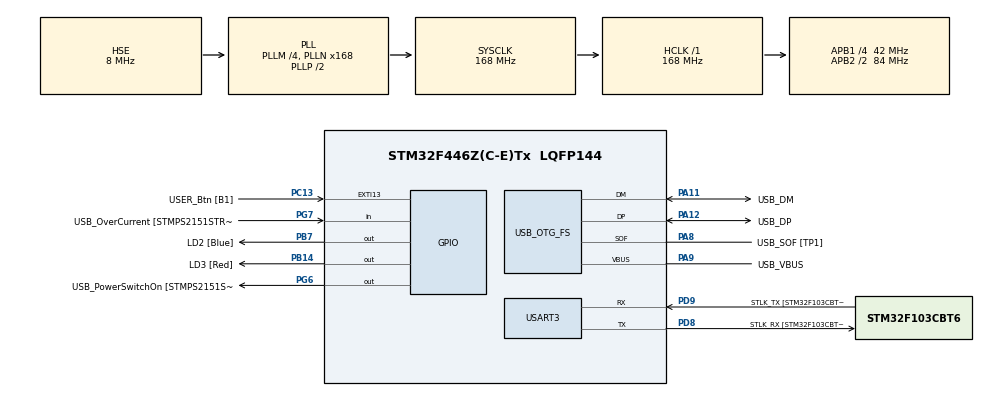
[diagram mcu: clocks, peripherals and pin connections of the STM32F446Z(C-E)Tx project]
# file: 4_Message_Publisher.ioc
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FREERTOS.Tasks01=defaultTask,0,128,StartDefaultTask,Default,NULL
Mcu.Family=STM32F4
Mcu.Name=STM32F446Z(C-E)Tx
Mcu.Package=LQFP144
NVIC.PriorityGroup=NVIC_PRIORITYGROUP_4
NVIC.TIM1_UP_TIM10_IRQn=true\:0\:0\:false\:false\:true\:false\:false\:true
NVIC.TimeBase=TIM1_UP_TIM10_IRQn
NVIC.TimeBaseIP=TIM1
PA10.GPIO_Label=USB_ID
PA10.Signal=USB_OTG_FS_ID
PA11.GPIO_Label=USB_DM
PA11.Mode=Device_Only
PA11.Signal=USB_OTG_FS_DM
PA12.GPIO_Label=USB_DP
PA12.Mode=Device_Only
PA12.Signal=USB_OTG_FS_DP
PA13.GPIO_Label=TMS
PA13.Mode=Serial_Wire
PA13.Signal=SYS_JTMS-SWDIO
PA14.GPIO_Label=TCK
PA14.Mode=Serial_Wire
PA14.Signal=SYS_JTCK-SWCLK
PA8.GPIO_Label=USB_SOF [TP1]
PA8.Mode=Activate_SOF_FS
PA8.Signal=USB_OTG_FS_SOF
PA9.GPIO_Label=USB_VBUS
PA9.Mode=Activate_VBUS
PA9.Signal=USB_OTG_FS_VBUS
PB14.GPIO_Label=LD3 [Red]
PB14.Signal=GPIO_Output
PB7.GPIO_Label=LD2 [Blue]
PB7.Signal=GPIO_Output
PC13.GPIO_Label=USER_Btn [B1]
PC13.Signal=GPXTI13
PC14-OSC32_IN.Mode=LSE-External-Oscillator
PC14-OSC32_IN.Signal=RCC_OSC32_IN
PC15-OSC32_OUT.Mode=LSE-External-Oscillator
PC15-OSC32_OUT.Signal=RCC_OSC32_OUT
PD8.GPIO_Label=STLK_RX [STM32F103CBT6_PA3]
PD8.Mode=Asynchronous
PD8.Signal=USART3_TX
PD9.GPIO_Label=STLK_TX [STM32F103CBT6_PA2]
PD9.Mode=Asynchronous
PD9.Signal=USART3_RX
PG6.GPIO_Label=USB_PowerSwitchOn [STMPS2151STR_EN]
PG6.Signal=GPIO_Output
PG7.GPIO_Label=USB_OverCurrent [STMPS2151STR_FAULT]
PG7.Signal=GPIO_Input
PH0-OSC_IN.GPIO_Label=MCO [STM32F103CBT6_PA8]
PH0-OSC_IN.Mode=HSE-External-Clock-Source
PH0-OSC_IN.Signal=RCC_OSC_IN
PH1-OSC_OUT.Mode=HSE-External-Clock-Source
PH1-OSC_OUT.Signal=RCC_OSC_OUT
ProjectManager.HeapSize=0x200
ProjectManager.StackSize=0x400
ProjectManager.TargetToolchain=STM32CubeIDE
RCC.48MHZClocksFreq_Value=24000000
RCC.AHBFreq_Value=168000000
RCC.APB1CLKDivider=RCC_HCLK_DIV4
RCC.APB1Freq_Value=42000000
RCC.APB1TimFreq_Value=84000000
RCC.APB2CLKDivider=RCC_HCLK_DIV2
RCC.APB2Freq_Value=84000000
RCC.APB2TimFreq_Value=168000000
RCC.CortexFreq_Value=168000000
RCC.HCLKFreq_Value=168000000
RCC.HSE_VALUE=8000000
RCC.HSI_VALUE=16000000
RCC.PLLM=4
RCC.PLLMUL=RCC_PLL_MUL9
RCC.PLLN=168
RCC.PLLQ=7
RCC.PRESCALERUSB=RCC_USBCLKSOURCE_PLL_DIV1_5
RCC.SYSCLKFreq_VALUE=168000000
RCC.SYSCLKSource=RCC_SYSCLKSOURCE_PLLCLK
RCC.SYSCLKSourceVirtual=RCC_SYSCLKSOURCE_PLLCLK
RCC.USBFreq_Value=48000000
RCC.VCOOutputFreq_Value=336000000
USART3.VirtualMode=VM_ASYNC
USB_OTG_FS.VirtualMode=Device_Only
VP_FREERTOS_VS_CMSIS_V1.Mode=CMSIS_V1
VP_SYS_VS_tim1.Mode=TIM1
board=NUCLEO-F446ZE

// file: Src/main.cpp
/* USER CODE BEGIN Header */
/**
  ******************************************************************************
  * @file           : main.c
  * @brief          : Main program body
  ******************************************************************************
  * @attention
  *
  * <h2><center>&copy; Copyright (c) 2019 STMicroelectronics.
  * All rights reserved.</center></h2>
  *
  * This software component is licensed by ST under BSD 3-Clause license,
  * the "License"; You may not use this file except in compliance with the
  * License. You may obtain a copy of the License at:
  *                        opensource.org/licenses/BSD-3-Clause
  *
  ******************************************************************************
  */
/* USER CODE END Header */

#include "main.h"
#include "cmsis_os.h"

/* USER CODE BEGIN Includes */
#include <uavcan_stm32/uavcan_stm32.hpp>
#include <uavcan/uavcan.hpp>

#include <uavcan/protocol/debug/KeyValue.hpp> // uavcan.protocol.debug.KeyValue
/* USER CODE END Includes */

/* USER CODE BEGIN PD */
#define CAN_THRAD_STACK_SIZE 512

#define DEBUG_BUFFER_SIZE    (256)
#define DEBUG_TIMEOUT        (1000)

/* USER CODE END PD */

UART_HandleTypeDef huart3;

PCD_HandleTypeDef hpcd_USB_OTG_FS;

osThreadId defaultTaskHandle;
/* USER CODE BEGIN PV */
uint32_t defaultTaskBuffer[ CAN_THRAD_STACK_SIZE ];
osStaticThreadDef_t defaultTaskControlBlock;

osSemaphoreId DEBUG_TX_completeID;
osSemaphoreDef(DEBUG_TX_complete);
uint8_t DEBUG_TX_Buffer[DEBUG_BUFFER_SIZE] = {0};  //!< Debug buffer.
/* USER CODE END PV */

void SystemClock_Config(void);
static void MX_GPIO_Init(void);
static void MX_USART3_UART_Init(void);
static void MX_USB_OTG_FS_PCD_Init(void);

/* USER CODE BEGIN PFP */
extern "C" {
	void StartDefaultTask(void const * argument);
}

bool DEBUG_Init(void);
void DEBUG_Printf(const char *fmt, ...);

/* USER CODE END PFP */

/* USER CODE BEGIN 0 */
constexpr unsigned NodePoolSize = 8192;
uavcan_stm32::CanInitHelper<> can;

uavcan::Node<NodePoolSize>& getNode() {
    static uavcan::Node<NodePoolSize> node(can.driver, uavcan_stm32::SystemClock::instance());
    return node;
}
/* USER CODE END 0 */

int main(void)
{

  /* MCU Configuration--------------------------------------------------------*/

  /* Reset of all peripherals, Initializes the Flash interface and the Systick. */
  HAL_Init();

  /* Configure the system clock */
  SystemClock_Config();

  /* Initialize all configured peripherals */
  MX_GPIO_Init();
  MX_USART3_UART_Init();
  MX_USB_OTG_FS_PCD_Init();
  /* USER CODE BEGIN 2 */

  GPIO_InitTypeDef GPIO_InitStruct = {0};

  __HAL_RCC_CAN1_CLK_ENABLE();

  __HAL_RCC_GPIOD_CLK_ENABLE();
  /**CAN1 GPIO Configuration
  PD0     ------> CAN1_RX
  PD1     ------> CAN1_TX
  */
  GPIO_InitStruct.Pin = GPIO_PIN_0|GPIO_PIN_1;
  GPIO_InitStruct.Mode = GPIO_MODE_AF_PP;
  GPIO_InitStruct.Pull = GPIO_NOPULL;
  GPIO_InitStruct.Speed = GPIO_SPEED_FREQ_VERY_HIGH;
  GPIO_InitStruct.Alternate = GPIO_AF9_CAN1;
  HAL_GPIO_Init(GPIOD, &GPIO_InitStruct);

  DEBUG_Init();

  /* USER CODE END 2 */

  /* Create the thread(s) */
  /* definition and creation of defaultTask */
  osThreadStaticDef(defaultTask, StartDefaultTask, osPriorityNormal, 0, CAN_THRAD_STACK_SIZE, defaultTaskBuffer, &defaultTaskControlBlock);
  defaultTaskHandle = osThreadCreate(osThread(defaultTask), NULL);

  /* Start scheduler */
  osKernelStart();

  /* We should never get here as control is now taken by the scheduler */

  /* Infinite loop */
  while (1)
  {

  }
}

void SystemClock_Config(void)
{
  RCC_OscInitTypeDef RCC_OscInitStruct = {0};
  RCC_ClkInitTypeDef RCC_ClkInitStruct = {0};
  RCC_PeriphCLKInitTypeDef PeriphClkInitStruct = {0};

  /** Configure the main internal regulator output voltage
  */
  __HAL_RCC_PWR_CLK_ENABLE();
  __HAL_PWR_VOLTAGESCALING_CONFIG(PWR_REGULATOR_VOLTAGE_SCALE1);
  /** Initializes the CPU, AHB and APB busses clocks
  */
  RCC_OscInitStruct.OscillatorType = RCC_OSCILLATORTYPE_HSE;
  RCC_OscInitStruct.HSEState = RCC_HSE_BYPASS;
  RCC_OscInitStruct.PLL.PLLState = RCC_PLL_ON;
  RCC_OscInitStruct.PLL.PLLSource = RCC_PLLSOURCE_HSE;
  RCC_OscInitStruct.PLL.PLLM = 4;
  RCC_OscInitStruct.PLL.PLLN = 168;
  RCC_OscInitStruct.PLL.PLLP = RCC_PLLP_DIV2;
  RCC_OscInitStruct.PLL.PLLQ = 7;
  RCC_OscInitStruct.PLL.PLLR = 2;
  if (HAL_RCC_OscConfig(&RCC_OscInitStruct) != HAL_OK)
  {
    Error_Handler();
  }
  /** Initializes the CPU, AHB and APB busses clocks
  */
  RCC_ClkInitStruct.ClockType = RCC_CLOCKTYPE_HCLK|RCC_CLOCKTYPE_SYSCLK
                              |RCC_CLOCKTYPE_PCLK1|RCC_CLOCKTYPE_PCLK2;
  RCC_ClkInitStruct.SYSCLKSource = RCC_SYSCLKSOURCE_PLLCLK;
  RCC_ClkInitStruct.AHBCLKDivider = RCC_SYSCLK_DIV1;
  RCC_ClkInitStruct.APB1CLKDivider = RCC_HCLK_DIV4;
  RCC_ClkInitStruct.APB2CLKDivider = RCC_HCLK_DIV2;

  if (HAL_RCC_ClockConfig(&RCC_ClkInitStruct, FLASH_LATENCY_5) != HAL_OK)
  {
    Error_Handler();
  }
  PeriphClkInitStruct.PeriphClockSelection = RCC_PERIPHCLK_CLK48;
  PeriphClkInitStruct.Clk48ClockSelection = RCC_CLK48CLKSOURCE_PLLQ;
  if (HAL_RCCEx_PeriphCLKConfig(&PeriphClkInitStruct) != HAL_OK)
  {
    Error_Handler();
  }
}

static void MX_USART3_UART_Init(void)
{

  huart3.Instance = USART3;
  huart3.Init.BaudRate = 115200;
  huart3.Init.WordLength = UART_WORDLENGTH_8B;
  huart3.Init.StopBits = UART_STOPBITS_1;
  huart3.Init.Parity = UART_PARITY_NONE;
  huart3.Init.Mode = UART_MODE_TX_RX;
  huart3.Init.HwFlowCtl = UART_HWCONTROL_NONE;
  huart3.Init.OverSampling = UART_OVERSAMPLING_16;
  if (HAL_UART_Init(&huart3) != HAL_OK)
  {
    Error_Handler();
  }

}

static void MX_USB_OTG_FS_PCD_Init(void)
{

  hpcd_USB_OTG_FS.Instance = USB_OTG_FS;
  hpcd_USB_OTG_FS.Init.dev_endpoints = 6;
  hpcd_USB_OTG_FS.Init.speed = PCD_SPEED_FULL;
  hpcd_USB_OTG_FS.Init.dma_enable = DISABLE;
  hpcd_USB_OTG_FS.Init.phy_itface = PCD_PHY_EMBEDDED;
  hpcd_USB_OTG_FS.Init.Sof_enable = ENABLE;
  hpcd_USB_OTG_FS.Init.low_power_enable = DISABLE;
  hpcd_USB_OTG_FS.Init.lpm_enable = DISABLE;
  hpcd_USB_OTG_FS.Init.vbus_sensing_enable = ENABLE;
  hpcd_USB_OTG_FS.Init.use_dedicated_ep1 = DISABLE;
  if (HAL_PCD_Init(&hpcd_USB_OTG_FS) != HAL_OK)
  {
    Error_Handler();
  }

}

static void MX_GPIO_Init(void)
{
  GPIO_InitTypeDef GPIO_InitStruct = {0};

  /* GPIO Ports Clock Enable */
  __HAL_RCC_GPIOC_CLK_ENABLE();
  __HAL_RCC_GPIOH_CLK_ENABLE();
  __HAL_RCC_GPIOB_CLK_ENABLE();
  __HAL_RCC_GPIOD_CLK_ENABLE();
  __HAL_RCC_GPIOG_CLK_ENABLE();
  __HAL_RCC_GPIOA_CLK_ENABLE();

  /*Configure GPIO pin Output Level */
  HAL_GPIO_WritePin(GPIOB, LD3_Pin|LD2_Pin, GPIO_PIN_RESET);

  /*Configure GPIO pin Output Level */
  HAL_GPIO_WritePin(USB_PowerSwitchOn_GPIO_Port, USB_PowerSwitchOn_Pin, GPIO_PIN_RESET);

  /*Configure GPIO pin : USER_Btn_Pin */
  GPIO_InitStruct.Pin = USER_Btn_Pin;
  GPIO_InitStruct.Mode = GPIO_MODE_IT_RISING;
  GPIO_InitStruct.Pull = GPIO_NOPULL;
  HAL_GPIO_Init(USER_Btn_GPIO_Port, &GPIO_InitStruct);

  /*Configure GPIO pins : LD3_Pin LD2_Pin */
  GPIO_InitStruct.Pin = LD3_Pin|LD2_Pin;
  GPIO_InitStruct.Mode = GPIO_MODE_OUTPUT_PP;
  GPIO_InitStruct.Pull = GPIO_NOPULL;
  GPIO_InitStruct.Speed = GPIO_SPEED_FREQ_LOW;
  HAL_GPIO_Init(GPIOB, &GPIO_InitStruct);

  /*Configure GPIO pin : USB_PowerSwitchOn_Pin */
  GPIO_InitStruct.Pin = USB_PowerSwitchOn_Pin;
  GPIO_InitStruct.Mode = GPIO_MODE_OUTPUT_PP;
  GPIO_InitStruct.Pull = GPIO_NOPULL;
  GPIO_InitStruct.Speed = GPIO_SPEED_FREQ_LOW;
  HAL_GPIO_Init(USB_PowerSwitchOn_GPIO_Port, &GPIO_InitStruct);

  /*Configure GPIO pin : USB_OverCurrent_Pin */
  GPIO_InitStruct.Pin = USB_OverCurrent_Pin;
  GPIO_InitStruct.Mode = GPIO_MODE_INPUT;
  GPIO_InitStruct.Pull = GPIO_NOPULL;
  HAL_GPIO_Init(USB_OverCurrent_GPIO_Port, &GPIO_InitStruct);

}

/* USER CODE BEGIN 4 */
bool DEBUG_Init(void)
{
    if ((DEBUG_TX_completeID = osSemaphoreCreate(osSemaphore(DEBUG_TX_complete), 1)) == NULL)
    {
        return false;
    }
    return true;
}

void DEBUG_Printf(const char *fmt, ...)
{
    uint16_t i = 0;
    va_list args;
    if (osSemaphoreWait(DEBUG_TX_completeID, 1000) == osOK)
    {
        va_start(args, fmt);
        i = vsnprintf((char*) DEBUG_TX_Buffer, DEBUG_BUFFER_SIZE - 1, fmt, args);
        DEBUG_TX_Buffer[i] = 0x00;

        uint16_t retry = 4096;

        while ((retry--)&&(HAL_UART_Transmit(&huart3, &DEBUG_TX_Buffer[0], strlen((char*)&DEBUG_TX_Buffer[0]), 0xFFF) != HAL_OK));

        va_end(args);
        osSemaphoreRelease(DEBUG_TX_completeID);
    }
    return;
}
/* USER CODE END 4 */

void StartDefaultTask(void const * argument)
{

  /* USER CODE BEGIN 5 */
	uint32_t value = 1000000;

	can.init(value);

	getNode().setName("org.Publisher.test");

	getNode().setNodeID(5);

	if (getNode().start() < 0) {
		DEBUG_Printf("UAVCAN start fail\r\n");
	    while (1);
	}

    uavcan::Publisher<uavcan::protocol::debug::KeyValue> kv_pub(getNode());
    const int kv_pub_init_res = kv_pub.init();
    if (kv_pub_init_res < 0)
    {
    	DEBUG_Printf("Failed to start the publisher\r\n");
    }

    //if needed
    kv_pub.setTxTimeout(uavcan::MonotonicDuration::fromMSec(1000));
    kv_pub.setPriority(uavcan::TransferPriority::MiddleLower);

	getNode().setModeOperational();

  /* Infinite loop */
  for(;;)
  {
	    const int res = getNode().spin(uavcan::MonotonicDuration::fromMSec(500));
	    if (res < 0) {
	    	DEBUG_Printf("UAVCAN spin fail\r\n");
	    	while(1);
	    }

	    uavcan::protocol::debug::KeyValue kv_msg;  // Always zero initialized
	    kv_msg.value = std::rand() / float(RAND_MAX);

        kv_msg.key = "a";   // "a"
        kv_msg.key += "b";  // "ab"
        kv_msg.key += "c";  // "abc"

        const int pub_res = kv_pub.broadcast(kv_msg);
        if (pub_res < 0)
        {
        	DEBUG_Printf("KV publication failure\r\n");
        }

  }
  /* USER CODE END 5 */
}

void HAL_TIM_PeriodElapsedCallback(TIM_HandleTypeDef *htim)
{
  if (htim->Instance == TIM1) {
    HAL_IncTick();
  }
}

void Error_Handler(void)
{
}

/************************ (C) COPYRIGHT STMicroelectronics *****END OF FILE****/
